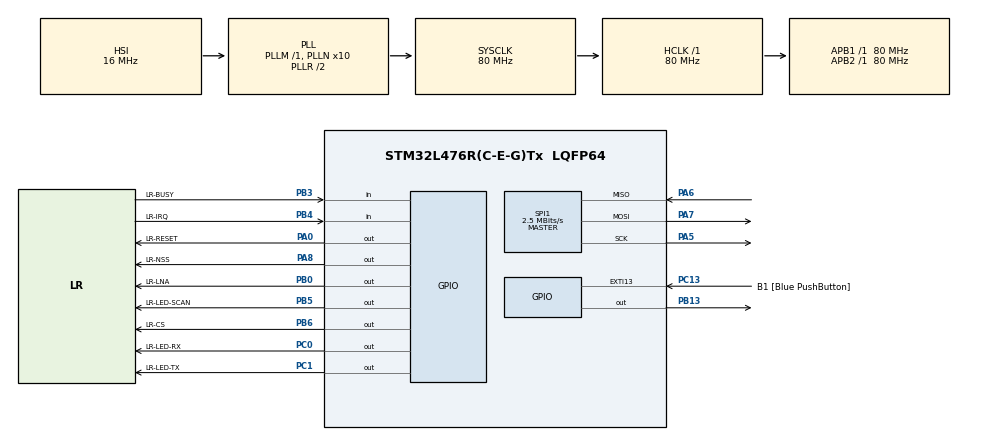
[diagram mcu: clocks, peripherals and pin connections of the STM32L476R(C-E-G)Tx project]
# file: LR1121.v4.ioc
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Mcu.Family=STM32L4
Mcu.Name=STM32L476R(C-E-G)Tx
Mcu.Package=LQFP64
NVIC.EXTI15_10_IRQn=true\:0\:0\:false\:false\:true\:true\:true\:true
NVIC.PriorityGroup=NVIC_PRIORITYGROUP_4
NVIC.TIM6_DAC_IRQn=true\:0\:0\:false\:false\:true\:true\:true\:true
PA0.GPIO_Label=LR-RESET
PA0.GPIO_Speed=GPIO_SPEED_FREQ_VERY_HIGH
PA0.Signal=GPIO_Output
PA13\ (JTMS-SWDIO).GPIO_Label=TMS
PA13\ (JTMS-SWDIO).Mode=Serial_Wire
PA13\ (JTMS-SWDIO).Signal=SYS_JTMS-SWDIO
PA14\ (JTCK-SWCLK).GPIO_Label=TCK
PA14\ (JTCK-SWCLK).Mode=Serial_Wire
PA14\ (JTCK-SWCLK).Signal=SYS_JTCK-SWCLK
PA2.GPIO_Label=USART_TX
PA2.GPIO_Mode=GPIO_MODE_AF_PP
PA2.GPIO_PuPd=GPIO_NOPULL
PA2.GPIO_Speed=GPIO_SPEED_FREQ_VERY_HIGH
PA2.Signal=USART2_TX
PA3.GPIO_Label=USART_RX
PA3.GPIO_Mode=GPIO_MODE_AF_PP
PA3.GPIO_PuPd=GPIO_NOPULL
PA3.GPIO_Speed=GPIO_SPEED_FREQ_VERY_HIGH
PA3.Signal=USART2_RX
PA5.Mode=Full_Duplex_Master
PA5.Signal=SPI1_SCK
PA6.Mode=Full_Duplex_Master
PA6.Signal=SPI1_MISO
PA7.Mode=Full_Duplex_Master
PA7.Signal=SPI1_MOSI
PA8.GPIO_Label=LR-NSS
PA8.GPIO_Speed=GPIO_SPEED_FREQ_VERY_HIGH
PA8.Signal=GPIO_Output
PB0.GPIO_Label=LR-LNA
PB0.GPIO_Speed=GPIO_SPEED_FREQ_VERY_HIGH
PB0.Signal=GPIO_Output
PB13.Signal=GPIO_Output
PB3\ (JTDO-TRACESWO).GPIO_Label=LR-BUSY
PB3\ (JTDO-TRACESWO).Signal=GPIO_Input
PB4\ (NJTRST).GPIO_Label=LR-IRQ
PB4\ (NJTRST).Signal=GPIO_Input
PB5.GPIO_Label=LR-LED-SCAN
PB5.GPIO_Speed=GPIO_SPEED_FREQ_HIGH
PB5.Signal=GPIO_Output
PB6.GPIO_Label=LR-CS
PB6.GPIO_Speed=GPIO_SPEED_FREQ_VERY_HIGH
PB6.Signal=GPIO_Output
PC0.GPIO_Label=LR-LED-RX
PC0.GPIO_Speed=GPIO_SPEED_FREQ_VERY_HIGH
PC0.Signal=GPIO_Output
PC1.GPIO_Label=LR-LED-TX
PC1.GPIO_Speed=GPIO_SPEED_FREQ_VERY_HIGH
PC1.Signal=GPIO_Output
PC13.GPIO_Label=B1 [Blue PushButton]
PC13.GPIO_ModeDefaultEXTI=GPIO_MODE_IT_FALLING
PC13.GPIO_PuPd=GPIO_NOPULL
PC13.Signal=GPXTI13
PC14-OSC32_IN\ (PC14).Mode=LSE-External-Oscillator
PC14-OSC32_IN\ (PC14).Signal=RCC_OSC32_IN
PC15-OSC32_OUT\ (PC15).Mode=LSE-External-Oscillator
PC15-OSC32_OUT\ (PC15).Signal=RCC_OSC32_OUT
PH0-OSC_IN\ (PH0).Signal=RCC_OSC_IN
PH1-OSC_OUT\ (PH1).Signal=RCC_OSC_OUT
ProjectManager.HeapSize=0x200
ProjectManager.StackSize=0x400
ProjectManager.TargetToolchain=STM32CubeIDE
RCC.ADCFreq_Value=64000000
RCC.AHBFreq_Value=80000000
RCC.APB1Freq_Value=80000000
RCC.APB1TimFreq_Value=80000000
RCC.APB2Freq_Value=80000000
RCC.APB2TimFreq_Value=80000000
RCC.CortexFreq_Value=80000000
RCC.HCLKFreq_Value=80000000
RCC.HSE_VALUE=8000000
RCC.HSI_VALUE=16000000
RCC.MSI_VALUE=4000000
RCC.PLLN=10
RCC.PLLSourceVirtual=RCC_PLLSOURCE_HSI
RCC.PREFETCH_ENABLE=1
RCC.SYSCLKFreq_VALUE=80000000
RCC.SYSCLKSource=RCC_SYSCLKSOURCE_PLLCLK
RCC.USBFreq_Value=64000000
RCC.VCOOutputFreq_Value=160000000
SPI1.BaudRatePrescaler=SPI_BAUDRATEPRESCALER_32
SPI1.CLKPolarity=SPI_POLARITY_LOW
SPI1.CalculateBaudRate=2.5 MBits/s
SPI1.DataSize=SPI_DATASIZE_8BIT
SPI1.Direction=SPI_DIRECTION_2LINES
SPI1.Mode=SPI_MODE_MASTER
SPI1.VirtualType=VM_MASTER
TIM6.AutoReloadPreload=TIM_AUTORELOAD_PRELOAD_ENABLE
TIM6.Period=100
TIM6.Prescaler=19999
VP_TIM6_VS_ClockSourceINT.Mode=Enable_Timer
board=NUCLEO-L476RG

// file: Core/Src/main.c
/* USER CODE BEGIN Header */
/**
  ******************************************************************************
  * @file           : main.c
  * @brief          : Main program body
  ******************************************************************************
  * @attention
  *
  * Copyright (c) 2025 STMicroelectronics.
  * All rights reserved.
  *
  * This software is licensed under terms that can be found in the LICENSE file
  * in the root directory of this software component.
  * If no LICENSE file comes with this software, it is provided AS-IS.
  *
  ******************************************************************************
  */
/* USER CODE END Header */
#include "main.h"

/* USER CODE BEGIN Includes */

#include "lora_simple_beacon.h"
#include "lora_base.h"

/* USER CODE END Includes */

/* USER CODE BEGIN PTD */

// #define MASTER

/* USER CODE END PTD */

SPI_HandleTypeDef hspi1;

TIM_HandleTypeDef htim6;

/* USER CODE BEGIN PV */

volatile uint32_t meta_counter = 0;
volatile uint32_t last_btn_action = 0;

uint8_t show_power_lvl = 0;
uint8_t show_scan = 0;
uint8_t show_tx = 0;
uint8_t show_rx = 0;

extern uint8_t enable_ui_scan;
extern uint8_t enable_ui_tx;
extern uint8_t enable_ui_rx;
extern uint8_t enable_ui_power;

/* USER CODE END PV */

void SystemClock_Config(void);
static void MX_GPIO_Init(void);
static void MX_SPI1_Init(void);
static void MX_TIM6_Init(void);
/* USER CODE BEGIN PFP */

void HAL_GPIO_EXTI_Callback(uint16_t GPIO_Pin);
void HAL_TIM_PeriodElapsedCallback(TIM_HandleTypeDef *htim);

void ui_power_level(void);
void ui_activity_scan(void);
void ui_activity_tx(void);
void ui_activity_rx(void);
void ui_activity_basic(uint8_t *enable_ui, uint8_t *show_ui, uint8_t cycle_length,  GPIO_TypeDef* gpio_port, uint16_t gpio_pin);

/* USER CODE END PFP */

int main(void)
{

  /* MCU Configuration--------------------------------------------------------*/

  /* Reset of all peripherals, Initializes the Flash interface and the Systick. */
  HAL_Init();

  /* Configure the system clock */
  SystemClock_Config();

  /* Initialize all configured peripherals */
  MX_GPIO_Init();
  MX_SPI1_Init();
  MX_TIM6_Init();
  /* USER CODE BEGIN 2 */

  printf("\n=== Simple LoRa Beacon Transmitter ===\n");
  printf("Initializing...\n");

  // Initialize the simple beacon system
  simple_beacon_init();

  /* USER CODE END 2 */

  /* Infinite loop */
  /* USER CODE BEGIN WHILE */

  while (1){
    // Simple beacon processing - transmits every 3 seconds
    simple_beacon_process();

    // Small delay to prevent excessive CPU usage
    HAL_Delay(10);
  }

    /* USER CODE END WHILE */

}

void SystemClock_Config(void)
{
  RCC_OscInitTypeDef RCC_OscInitStruct = {0};
  RCC_ClkInitTypeDef RCC_ClkInitStruct = {0};

  /** Configure the main internal regulator output voltage
  */
  if (HAL_PWREx_ControlVoltageScaling(PWR_REGULATOR_VOLTAGE_SCALE1) != HAL_OK)
  {
    Error_Handler();
  }

  /** Initializes the RCC Oscillators according to the specified parameters
  * in the RCC_OscInitTypeDef structure.
  */
  RCC_OscInitStruct.OscillatorType = RCC_OSCILLATORTYPE_HSI;
  RCC_OscInitStruct.HSIState = RCC_HSI_ON;
  RCC_OscInitStruct.HSICalibrationValue = RCC_HSICALIBRATION_DEFAULT;
  RCC_OscInitStruct.PLL.PLLState = RCC_PLL_ON;
  RCC_OscInitStruct.PLL.PLLSource = RCC_PLLSOURCE_HSI;
  RCC_OscInitStruct.PLL.PLLM = 1;
  RCC_OscInitStruct.PLL.PLLN = 10;
  RCC_OscInitStruct.PLL.PLLP = RCC_PLLP_DIV7;
  RCC_OscInitStruct.PLL.PLLQ = RCC_PLLQ_DIV2;
  RCC_OscInitStruct.PLL.PLLR = RCC_PLLR_DIV2;
  if (HAL_RCC_OscConfig(&RCC_OscInitStruct) != HAL_OK)
  {
    Error_Handler();
  }

  /** Initializes the CPU, AHB and APB buses clocks
  */
  RCC_ClkInitStruct.ClockType = RCC_CLOCKTYPE_HCLK|RCC_CLOCKTYPE_SYSCLK
                              |RCC_CLOCKTYPE_PCLK1|RCC_CLOCKTYPE_PCLK2;
  RCC_ClkInitStruct.SYSCLKSource = RCC_SYSCLKSOURCE_PLLCLK;
  RCC_ClkInitStruct.AHBCLKDivider = RCC_SYSCLK_DIV1;
  RCC_ClkInitStruct.APB1CLKDivider = RCC_HCLK_DIV1;
  RCC_ClkInitStruct.APB2CLKDivider = RCC_HCLK_DIV1;

  if (HAL_RCC_ClockConfig(&RCC_ClkInitStruct, FLASH_LATENCY_4) != HAL_OK)
  {
    Error_Handler();
  }
}

static void MX_SPI1_Init(void)
{

  /* SPI1 parameter configuration*/
  hspi1.Instance = SPI1;
  hspi1.Init.Mode = SPI_MODE_MASTER;
  hspi1.Init.Direction = SPI_DIRECTION_2LINES;
  hspi1.Init.DataSize = SPI_DATASIZE_8BIT;
  hspi1.Init.CLKPolarity = SPI_POLARITY_LOW;
  hspi1.Init.CLKPhase = SPI_PHASE_1EDGE;
  hspi1.Init.NSS = SPI_NSS_SOFT;
  hspi1.Init.BaudRatePrescaler = SPI_BAUDRATEPRESCALER_32;
  hspi1.Init.FirstBit = SPI_FIRSTBIT_MSB;
  hspi1.Init.TIMode = SPI_TIMODE_DISABLE;
  hspi1.Init.CRCCalculation = SPI_CRCCALCULATION_DISABLE;
  hspi1.Init.CRCPolynomial = 7;
  hspi1.Init.CRCLength = SPI_CRC_LENGTH_DATASIZE;
  hspi1.Init.NSSPMode = SPI_NSS_PULSE_ENABLE;
  if (HAL_SPI_Init(&hspi1) != HAL_OK)
  {
    Error_Handler();
  }

}

static void MX_TIM6_Init(void)
{

  TIM_MasterConfigTypeDef sMasterConfig = {0};

  htim6.Instance = TIM6;
  htim6.Init.Prescaler = 19999;
  htim6.Init.CounterMode = TIM_COUNTERMODE_UP;
  htim6.Init.Period = 100;
  htim6.Init.AutoReloadPreload = TIM_AUTORELOAD_PRELOAD_ENABLE;
  if (HAL_TIM_Base_Init(&htim6) != HAL_OK)
  {
    Error_Handler();
  }
  sMasterConfig.MasterOutputTrigger = TIM_TRGO_RESET;
  sMasterConfig.MasterSlaveMode = TIM_MASTERSLAVEMODE_DISABLE;
  if (HAL_TIMEx_MasterConfigSynchronization(&htim6, &sMasterConfig) != HAL_OK)
  {
    Error_Handler();
  }

}

static void MX_GPIO_Init(void)
{
  GPIO_InitTypeDef GPIO_InitStruct = {0};

  /* GPIO Ports Clock Enable */
  __HAL_RCC_GPIOC_CLK_ENABLE();
  __HAL_RCC_GPIOH_CLK_ENABLE();
  __HAL_RCC_GPIOA_CLK_ENABLE();
  __HAL_RCC_GPIOB_CLK_ENABLE();

  /*Configure GPIO pin Output Level */
  HAL_GPIO_WritePin(GPIOC, LR_LED_RX_Pin|LR_LED_TX_Pin, GPIO_PIN_RESET);

  /*Configure GPIO pin Output Level */
  HAL_GPIO_WritePin(GPIOA, LR_RESET_Pin|LR_NSS_Pin, GPIO_PIN_RESET);

  /*Configure GPIO pin Output Level */
  HAL_GPIO_WritePin(GPIOB, LR_LNA_Pin|GPIO_PIN_13|LR_LED_SCAN_Pin|LR_CS_Pin, GPIO_PIN_RESET);

  /*Configure GPIO pin : B1_Pin */
  GPIO_InitStruct.Pin = B1_Pin;
  GPIO_InitStruct.Mode = GPIO_MODE_IT_FALLING;
  GPIO_InitStruct.Pull = GPIO_NOPULL;
  HAL_GPIO_Init(B1_GPIO_Port, &GPIO_InitStruct);

  /*Configure GPIO pins : LR_LED_RX_Pin LR_LED_TX_Pin */
  GPIO_InitStruct.Pin = LR_LED_RX_Pin|LR_LED_TX_Pin;
  GPIO_InitStruct.Mode = GPIO_MODE_OUTPUT_PP;
  GPIO_InitStruct.Pull = GPIO_NOPULL;
  GPIO_InitStruct.Speed = GPIO_SPEED_FREQ_VERY_HIGH;
  HAL_GPIO_Init(GPIOC, &GPIO_InitStruct);

  /*Configure GPIO pins : LR_RESET_Pin LR_NSS_Pin */
  GPIO_InitStruct.Pin = LR_RESET_Pin|LR_NSS_Pin;
  GPIO_InitStruct.Mode = GPIO_MODE_OUTPUT_PP;
  GPIO_InitStruct.Pull = GPIO_NOPULL;
  GPIO_InitStruct.Speed = GPIO_SPEED_FREQ_VERY_HIGH;
  HAL_GPIO_Init(GPIOA, &GPIO_InitStruct);

  /*Configure GPIO pins : USART_TX_Pin USART_RX_Pin */
  GPIO_InitStruct.Pin = USART_TX_Pin|USART_RX_Pin;
  GPIO_InitStruct.Mode = GPIO_MODE_AF_PP;
  GPIO_InitStruct.Pull = GPIO_NOPULL;
  GPIO_InitStruct.Speed = GPIO_SPEED_FREQ_VERY_HIGH;
  GPIO_InitStruct.Alternate = GPIO_AF7_USART2;
  HAL_GPIO_Init(GPIOA, &GPIO_InitStruct);

  /*Configure GPIO pins : LR_LNA_Pin LR_CS_Pin */
  GPIO_InitStruct.Pin = LR_LNA_Pin|LR_CS_Pin;
  GPIO_InitStruct.Mode = GPIO_MODE_OUTPUT_PP;
  GPIO_InitStruct.Pull = GPIO_NOPULL;
  GPIO_InitStruct.Speed = GPIO_SPEED_FREQ_VERY_HIGH;
  HAL_GPIO_Init(GPIOB, &GPIO_InitStruct);

  /*Configure GPIO pin : PB13 */
  GPIO_InitStruct.Pin = GPIO_PIN_13;
  GPIO_InitStruct.Mode = GPIO_MODE_OUTPUT_PP;
  GPIO_InitStruct.Pull = GPIO_NOPULL;
  GPIO_InitStruct.Speed = GPIO_SPEED_FREQ_LOW;
  HAL_GPIO_Init(GPIOB, &GPIO_InitStruct);

  /*Configure GPIO pins : LR_BUSY_Pin LR_IRQ_Pin */
  GPIO_InitStruct.Pin = LR_BUSY_Pin|LR_IRQ_Pin;
  GPIO_InitStruct.Mode = GPIO_MODE_INPUT;
  GPIO_InitStruct.Pull = GPIO_NOPULL;
  HAL_GPIO_Init(GPIOB, &GPIO_InitStruct);

  /*Configure GPIO pin : LR_LED_SCAN_Pin */
  GPIO_InitStruct.Pin = LR_LED_SCAN_Pin;
  GPIO_InitStruct.Mode = GPIO_MODE_OUTPUT_PP;
  GPIO_InitStruct.Pull = GPIO_NOPULL;
  GPIO_InitStruct.Speed = GPIO_SPEED_FREQ_HIGH;
  HAL_GPIO_Init(LR_LED_SCAN_GPIO_Port, &GPIO_InitStruct);

  /* EXTI interrupt init*/
  HAL_NVIC_SetPriority(EXTI15_10_IRQn, 0, 0);
  HAL_NVIC_EnableIRQ(EXTI15_10_IRQn);

}

/* USER CODE BEGIN 4 */

uint8_t buttonPressCounter = 0;
uint8_t blinkPatternCycleLength = 1;
uint8_t blinkPatternOnLength = 2;
uint8_t blinkPatternOffLength = 6;
#define BUTTON_DEBOUNCE_FACTOR 4

void HAL_GPIO_EXTI_Callback(uint16_t GPIO_Pin) {
  if (meta_counter == 0 || meta_counter > last_btn_action + BUTTON_DEBOUNCE_FACTOR) { // debounce
    buttonPressCounter++;
    last_btn_action = meta_counter;
  }
}

void HAL_TIM_PeriodElapsedCallback(TIM_HandleTypeDef *htim){
  if (buttonPressCounter > 0 && meta_counter > (last_btn_action + (10 * BUTTON_DEBOUNCE_FACTOR)) ) {
    lora_system_transmit_power(buttonPressCounter - 1);
    enable_ui_power = 1;
    buttonPressCounter = 0;
    last_btn_action = 0;
    meta_counter = 0;
  }
  if (buttonPressCounter > 0){
    meta_counter++;
  }

  ui_power_level();
  ui_activity_scan();
  ui_activity_tx();
  ui_activity_rx();

}

void ui_power_level(void){
  if (enable_ui_power > 0){
    show_power_lvl = (lora_system_transmit_power(0) + 1) * (blinkPatternOnLength + blinkPatternOffLength);
    enable_ui_power = 0;
  }
  if (show_power_lvl > 0){
    uint8_t pointInCycle = show_power_lvl % (blinkPatternOnLength + blinkPatternOffLength);
    if (pointInCycle < blinkPatternOnLength){
      HAL_GPIO_WritePin(LR_LED_SCAN_GPIO_Port, LR_LED_SCAN_Pin, GPIO_PIN_RESET);
    } else {
      HAL_GPIO_WritePin(LR_LED_SCAN_GPIO_Port, LR_LED_SCAN_Pin, GPIO_PIN_SET);
    }
    show_power_lvl--;
  }
}

void ui_activity_scan(void){
  ui_activity_basic(&enable_ui_scan, &show_scan, blinkPatternCycleLength, LR_LED_SCAN_GPIO_Port, LR_LED_SCAN_Pin);
}

void ui_activity_tx(void){
  ui_activity_basic(&enable_ui_tx, &show_tx, blinkPatternCycleLength, LR_LED_TX_GPIO_Port, LR_LED_TX_Pin);
}

void ui_activity_rx(void){
  ui_activity_basic(&enable_ui_rx, &show_rx, blinkPatternCycleLength, LR_LED_RX_GPIO_Port, LR_LED_RX_Pin);
}

void ui_activity_basic(uint8_t* enable_ui, uint8_t* show_ui, uint8_t cycle_length, GPIO_TypeDef* gpio_port, uint16_t gpio_pin){
  if (*enable_ui > 0){
    *show_ui = blinkPatternCycleLength * (blinkPatternOnLength + blinkPatternOffLength);
    *enable_ui = 0;
  }
  if (*show_ui > 0){
    uint8_t pointInCycle = *show_ui % (blinkPatternOnLength + blinkPatternOffLength);
    if (pointInCycle < blinkPatternOnLength){
      HAL_GPIO_WritePin(gpio_port, gpio_pin, GPIO_PIN_RESET);
    } else {
      HAL_GPIO_WritePin(gpio_port, gpio_pin, GPIO_PIN_SET);
    }
    (*show_ui)--;
  }
}

/* USER CODE END 4 */

void Error_Handler(void)
{
  __disable_irq();
  while (1)
  {
  }
}
